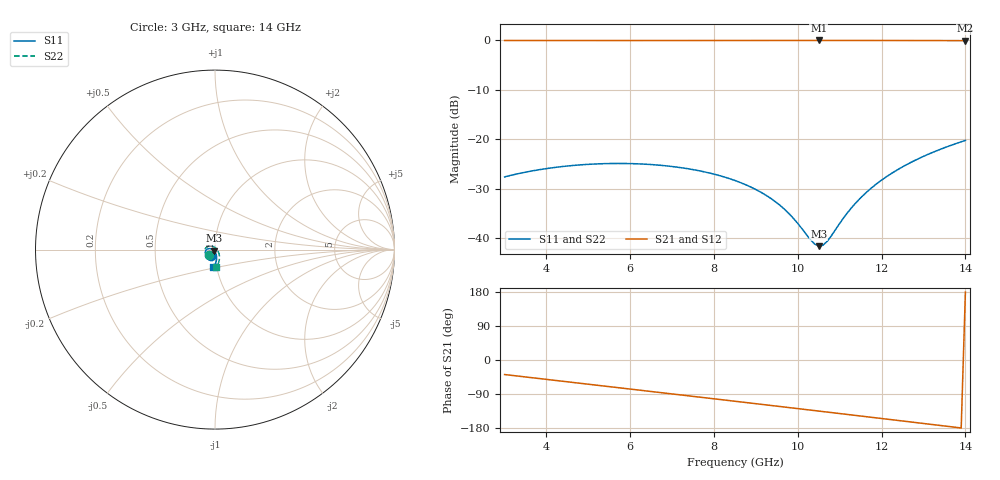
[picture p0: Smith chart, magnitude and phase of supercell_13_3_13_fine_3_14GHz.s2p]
! Touchstone file exported from HFSS 2026.1.0
!  File:  C:/Users/urbaneja/Ansys/13-3-3_super_cell.aedt
!  Generated:  09:21:28 AM Aug 12, 2026
!  Design:  HFSSDesign_Supercell_13_3_13
!  Project:  13-3-3_super_cell
!  Setup:  Setup1
!  Solution:  Sweep_fine_3_14GHz
! Variables:
!  stub_length = 12um
# GHz S MA R 50.000000
! Terminal data exported
! Port[1] = Port1
! Port[2] = Port2
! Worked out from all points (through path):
!   111 points, 3 GHz to 14 GHz, reference 50 ohm
!   highest |S21| = 0.00 dB at 10.5 GHz (marker M1); lowest = 0.0 dB at 14 GHz (marker M2)
!   group delay of S21, straight-line fit = 35.9 ps
!   lowest |S11| = -41.6 dB at 10.5 GHz (marker M3), VSWR 1.02, Z = 49.4 - j0.544 ohm
!   |S11| at or under -10 dB: start of sweep to end of sweep
!   |S22| runs from -41.6 to -20.2 dB; largest |S21 - S12| = 5.2e-05
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3  0.04161 -118.1  0.9991 -38.4  0.9991 -38.4  0.04161 -138.6
! Gamma 1.90211625812809E-31 2682.20511504638 1.71196688575315E-31 2578.88136852733
! Port Impedance 50 0 50 0
3.9  0.04977 -131.3  0.9988 -49.9  0.9988 -49.9  0.04977 -148.5
4.9  0.05541 -144.8  0.9985 -62.7  0.9985 -62.7  0.05541 -160.5
5.8  0.05689 -156.5  0.9984 -74.2  0.9984 -74.2  0.05689 -171.9
6.7  0.05462 -167.6  0.9985 -85.7  0.9985 -85.7  0.05462 176.1
7.7  0.04747 -179.0  0.9989 -98.6  0.9989 -98.6  0.04747 161.9
8.5  0.03824 173.2  0.9993 -108.9  0.9993 -108.9  0.03824 149.1
9  0.03097 169.8  0.9995 -115.3  0.9995 -115.3  0.03097 139.6
9.5  0.02273 169.2  0.9997 -121.8  0.9997 -121.8  0.02273 127.2
9.9  0.01575 174.3  0.9999 -127.0  0.9999 -127.0  0.01575 111.7
10.3  0.009635 -163.4  1 -132.2  1 -132.2  0.009635 79.0
10.4  0.008706 -152.1  1 -133.5  1 -133.5  0.008706 65.1
10.5  0.008282 -138.3  1 -134.8  1 -134.8  0.008282 48.7
10.6  0.008469 -123.9  1 -136.1  1 -136.1  0.008469 31.7
10.7  0.009261 -110.9  1 -137.4  1 -137.4  0.009261 16.1
11.2  0.01838 -80.9  0.9998 -143.9  0.9998 -143.9  0.01838 -26.9
11.5  0.02555 -77.0  0.9997 -147.8  0.9997 -147.8  0.02555 -38.7
11.8  0.03326 -76.4  0.9994 -151.8  0.9994 -151.8  0.03326 -47.2
12.2  0.04411 -78.0  0.999 -157.0  0.999 -157.0  0.04411 -56.0
12.6  0.05544 -81.0  0.9985 -162.3  0.9985 -162.3  0.05544 -63.5
13  0.06712 -84.8  0.9977 -167.5  0.9977 -167.5  0.06712 -70.3
14  0.09729 -95.6  0.9952 179.3  0.9953 179.3  0.09729 -85.7
